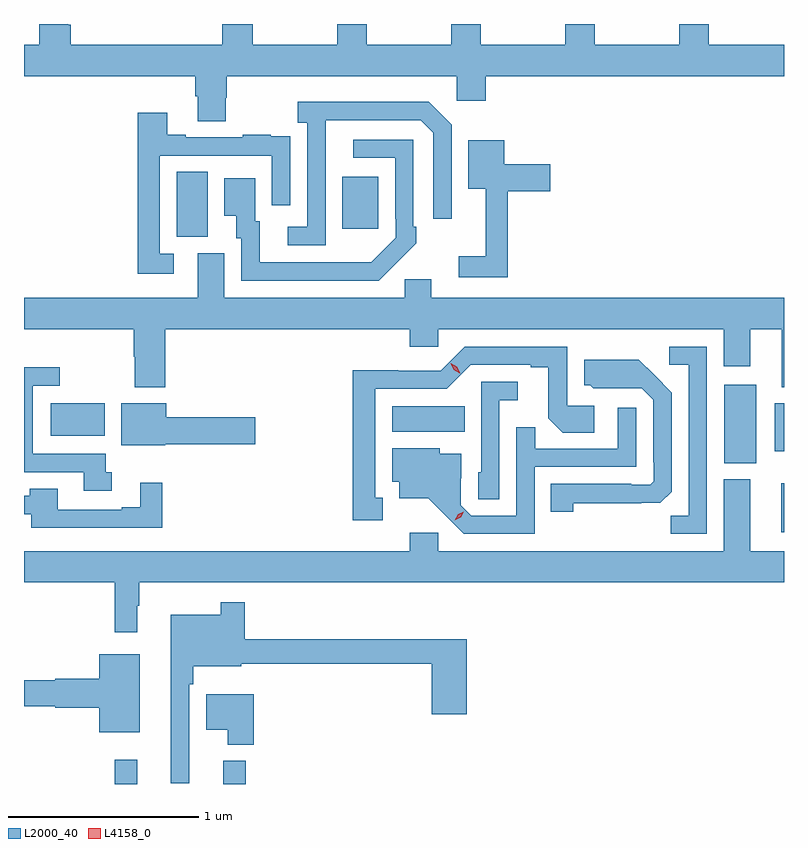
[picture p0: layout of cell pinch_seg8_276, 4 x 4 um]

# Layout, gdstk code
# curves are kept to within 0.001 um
import gdstk
lib = gdstk.Library(unit=1e-6, precision=1e-09)
def R(c, l, rs):  # rectangles x0, y0, x1, y1
    for r in rs: c.add(gdstk.rectangle(r[:2], r[2:], *l))
def P(c, l, *ps):  # polygons
    for p in ps: c.add(gdstk.Polygon(p, *l))
L2000_40 = (2000, 40)
L4158_0 = (4158, 0)

pinch_seg8_276 = lib.new_cell('pinch_seg8_276')
R(pinch_seg8_276, L2000_40, [(530.851,1152.734,530.969,1152.862), (531.422,1152.734,531.539,1152.856), (534.359,1154.06,534.373,1154.317), (534.059,1154.423,534.226,1154.836), (534.323,1154.486,534.373,1154.737), (530.513,1154.567,530.797,1154.737), (532.31,1154.588,532.694,1154.722), (531.176,1155.613,531.34,1155.956), (532.049,1155.657,532.237,1155.931)])
P(pinch_seg8_276, L2000_40, [(534.373,1156.624),(533.976,1156.624),(533.976,1156.734),(533.821,1156.734),(533.821,1156.624),(533.376,1156.624),(533.376,1156.734),(533.221,1156.734),(533.221,1156.624),(532.776,1156.624),(532.776,1156.734),(532.621,1156.734),(532.621,1156.624),(532.176,1156.624),(532.176,1156.734),(532.021,1156.734),(532.021,1156.624),(531.576,1156.624),(531.576,1156.734),(531.416,1156.734),(531.416,1156.624),(530.618,1156.624),(530.618,1156.73),(530.605,1156.73),(530.605,1156.734),(530.453,1156.734),(530.453,1156.624),(530.373,1156.624),(530.373,1156.46),(531.275,1156.46),(531.275,1156.354),(531.287,1156.354),(531.287,1156.222),(531.435,1156.222),(531.435,1156.347),(531.44,1156.347),(531.44,1156.46),(532.65,1156.46),(532.65,1156.329),(532.802,1156.329),(532.802,1156.46),(534.373,1156.46)],
  [(531.96,1156.027),(531.961,1156.227),(532.461,1156.227),(532.527,1156.161),(532.527,1155.708),(532.623,1155.708),(532.623,1156.203),(532.502,1156.324),(531.813,1156.324),(531.813,1156.214),(531.864,1156.214),(531.864,1155.666),(531.762,1155.666),(531.762,1155.57),(531.96,1155.57)],
  [(531.16,1155.525),(531.087,1155.525),(531.087,1156.041),(531.678,1156.041),(531.678,1155.78),(531.774,1155.78),(531.774,1156.034),(531.773,1156.034),(531.773,1156.143),(531.671,1156.143),(531.671,1156.15),(531.523,1156.15),(531.523,1156.137),(531.223,1156.137),(531.223,1156.15),(531.127,1156.15),(531.127,1156.267),(530.971,1156.267),(530.971,1155.42),(531.16,1155.42)],
  [(532.331,1155.475),(532.332,1155.474),(532.437,1155.579),(532.437,1155.667),(532.422,1155.667),(532.422,1156.125),(532.107,1156.125),(532.107,1156.029),(532.326,1156.029),(532.326,1155.709),(532.329,1155.709),(532.329,1155.609),(532.201,1155.481),(531.613,1155.48),(531.613,1155.696),(531.589,1155.696),(531.589,1155.922),(531.428,1155.922),(531.428,1155.725),(531.491,1155.725),(531.491,1155.606),(531.516,1155.606),(531.516,1155.384),(532.24,1155.384)],
  [(532.919,1155.854),(533.143,1155.854),(533.143,1155.996),(532.9,1155.996),(532.9,1156.123),(532.712,1156.123),(532.712,1155.866),(532.802,1155.866),(532.802,1155.511),(532.662,1155.511),(532.662,1155.402),(532.919,1155.402)],
  [(534.373,1155.292),(532.516,1155.292),(532.516,1155.39),(532.377,1155.39),(532.377,1155.292),(531.427,1155.292),(531.427,1155.528),(531.287,1155.528),(531.287,1155.292),(530.373,1155.292),(530.373,1155.128),(530.951,1155.128),(530.951,1154.984),(530.956,1154.984),(530.956,1154.823),(531.116,1154.823),(531.116,1155.128),(532.403,1155.128),(532.403,1155.035),(532.554,1155.035),(532.554,1155.128),(534.056,1155.128),(534.056,1154.934),(534.196,1154.934),(534.196,1155.128),(534.362,1155.128),(534.362,1154.822),(534.373,1154.822)],
  [(532.261,1154.241),(532.222,1154.241),(532.222,1154.814),(532.599,1154.814),(532.725,1154.94),(533.039,1154.94),(533.039,1154.928),(533.133,1154.928),(533.133,1154.66),(533.209,1154.584),(533.374,1154.584),(533.374,1154.724),(533.232,1154.724),(533.232,1155.036),(532.692,1155.036),(532.566,1154.91),(532.344,1154.91),(532.344,1154.912),(532.104,1154.912),(532.104,1154.121),(532.261,1154.121)],
  [(533.967,1155.036),(533.769,1155.036),(533.769,1154.94),(533.871,1154.94),(533.871,1154.147),(533.776,1154.147),(533.776,1154.052),(533.967,1154.052)],
  [(533.265,1154.212),(533.722,1154.213),(533.781,1154.272),(533.781,1154.794),(533.609,1154.968),(533.321,1154.968),(533.321,1154.832),(533.352,1154.832),(533.368,1154.816),(533.625,1154.817),(533.685,1154.757),(533.685,1154.428),(533.688,1154.428),(533.688,1154.328),(533.67,1154.31),(533.57,1154.31),(533.57,1154.313),(533.146,1154.313),(533.146,1154.166),(533.265,1154.166)],
  [(530.836,1154.375),(530.804,1154.375),(530.804,1154.472),(530.418,1154.472),(530.418,1154.829),(530.56,1154.829),(530.56,1154.927),(530.373,1154.927),(530.373,1154.376),(530.687,1154.376),(530.687,1154.277),(530.836,1154.277)],
  [(532.875,1154.753),(532.972,1154.753),(532.972,1154.85),(532.779,1154.85),(532.779,1154.376),(532.764,1154.376),(532.764,1154.233),(532.875,1154.233)],
  [(531.117,1154.522),(531.589,1154.522),(531.589,1154.664),(531.121,1154.664),(531.121,1154.737),(530.885,1154.737),(530.885,1154.516),(531.117,1154.516)],
  [(533.061,1154.403),(533.595,1154.403),(533.595,1154.713),(533.499,1154.713),(533.499,1154.499),(533.063,1154.499),(533.063,1154.612),(532.965,1154.612),(532.965,1154.145),(532.728,1154.145),(532.671,1154.202),(532.671,1154.344),(532.675,1154.344),(532.675,1154.473),(532.56,1154.473),(532.56,1154.5),(532.31,1154.5),(532.31,1154.324),(532.349,1154.324),(532.349,1154.237),(532.501,1154.237),(532.688,1154.052),(533.061,1154.052)],
  [(530.968,1153.673),(530.98,1153.673),(530.98,1153.796),(534.373,1153.796),(534.373,1153.96),(534.196,1153.96),(534.196,1154.338),(534.056,1154.338),(534.056,1153.96),(532.554,1153.96),(532.554,1154.056),(532.403,1154.056),(532.403,1153.96),(530.373,1153.96),(530.373,1153.796),(530.851,1153.796),(530.851,1153.533),(530.968,1153.533)],
  [(531.101,1154.32),(530.984,1154.32),(530.984,1154.191),(530.888,1154.191),(530.888,1154.178),(530.551,1154.178),(530.551,1154.287),(530.404,1154.287),(530.404,1154.25),(530.373,1154.25),(530.373,1154.154),(530.411,1154.154),(530.411,1154.082),(531.101,1154.082)],
  [(531.243,1153.259),(531.263,1153.259),(531.263,1153.355),(531.517,1153.355),(531.517,1153.366),(532.52,1153.366),(532.52,1153.101),(532.703,1153.101),(532.703,1153.495),(531.536,1153.495),(531.536,1153.69),(531.408,1153.69),(531.408,1153.624),(531.146,1153.624),(531.146,1152.738),(531.243,1152.738)],
  [(530.983,1153.417),(530.768,1153.417),(530.768,1153.288),(530.538,1153.288),(530.538,1153.28),(530.373,1153.28),(530.373,1153.144),(530.538,1153.144),(530.538,1153.136),(530.768,1153.136),(530.768,1153.007),(530.983,1153.007)],
  [(531.581,1153.207),(531.332,1153.207),(531.332,1153.019),(531.446,1153.019),(531.446,1152.941),(531.581,1152.941)])
P(pinch_seg8_276, L4158_0, [(532.64,1154.123),(532.64,1154.123),(532.658,1154.153),(532.688,1154.168),(532.688,1154.168),(532.688,1154.168),(532.671,1154.138),(532.64,1154.123)],
  [(532.667,1154.896),(532.636,1154.915),(532.618,1154.948),(532.618,1154.948),(532.619,1154.948),(532.65,1154.929),(532.668,1154.896),(532.668,1154.896)])

lib.write_gds('pinch_seg8_276.gds')
